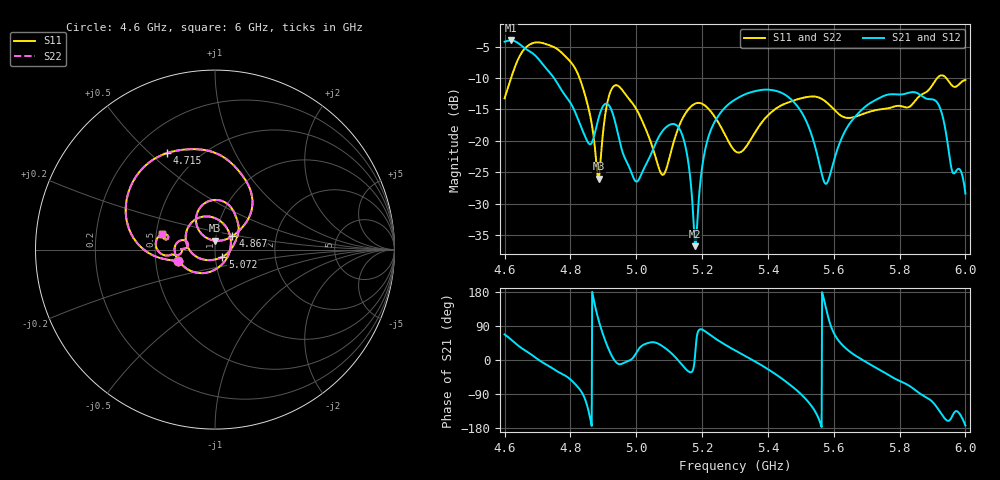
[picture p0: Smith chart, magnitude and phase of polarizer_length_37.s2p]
! TOUCHSTONE file generated by CST MICROWAVE STUDIO
! Date and time: Sun Dec  1 17:16:55 2024
! Project name: test_tuning.cst
! Parameters = {airCoaxOuterDiameter=3; chamferAngle=45; chamferWidth=24; connectorLength=10; drillingHoleDiameter=4.1; feedLength=60; flareDiameter=130; flareLength=70; gratingDistance=0; gratingGap=1.90274; outletLength=30; polarizerLength=136; probe1Diameter=1.3; probe1Distance=14; probe1Length=1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
! Header version: 2024
! Port assignment regex: !\s*Touchstone port\s*([0-9]+)\s*=\s*(CST MWS port|CST DES external port|CST DES block port)\s*(.+)\s* \(\"(.*)\"\)(\s*mode\s*([0-9]+))?.*
! Touchstone port assignment:
! Touchstone port 1 = CST MWS port 1 ("Input1")
! Touchstone port 2 = CST MWS port 2 ("Input2")
# GHz S MA R 50
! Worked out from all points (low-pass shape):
!   1001 points, 4.6 GHz to 6 GHz, reference 50 ohm
!   highest |S21| = -4.02 dB at 4.618 GHz (marker M1); lowest = -36.8 dB at 5.18 GHz (marker M2)
!   |S21| within 3 dB of the highest: start of sweep to 4.704 GHz
!   lowest |S11| = -26.0 dB at 4.886 GHz (marker M3), VSWR 1.10, Z = 49.9 + j4.98 ohm
!   |S11| at or under -10 dB: start of sweep to 4.619705 GHz; 4.828 GHz to 5.915 GHz (1.087 GHz wide, 20.2 % of centre); 5.942 GHz to end of sweep
!   |S22| runs from -26.0 to -4.3 dB; largest |S21 - S12| = 4.3e-07
!   S11 on the Smith chart (normalised r, x): 4.6 GHz: 0.65, -0.09; 4.715 GHz: 0.34, +0.57; 4.867 GHz: 1.20, +0.18; 5.072 GHz: 1.08, -0.09; 6 GHz: 0.54, +0.10
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4.6  0.2178 -163.2  0.6153 67.5  0.6153 67.5  0.2178 -163.2
4.6182  0.3076 -171.1  0.6293 55.1  0.6293 55.1  0.3076 -171.1
4.663  0.5482 155.2  0.5421 24.8  0.5421 24.8  0.5482 155.2
4.7148  0.6005 116.5  0.4098 -6.0  0.4098 -6.0  0.6005 116.5
4.8338  0.2849 45.6  0.1262 -84.4  0.1262 -84.4  0.2849 45.6
4.8674  0.1232 37.8  0.09976 173.7  0.09976 173.7  0.1232 37.8
4.8856  0.04984 88.7  0.1522 105.0  0.1522 105.0  0.04984 88.7
4.9388  0.277 88.6  0.1312 -6.0  0.1312 -6.0  0.277 88.6
5.0004  0.1783 42.4  0.04729 19.3  0.04729 19.3  0.1783 42.4
5.0676  0.06178 -33.6  0.1063 42.7  0.1063 42.7  0.06178 -33.6
5.0718  0.05749 -44.9  0.1113 40.8  0.1113 40.8  0.05749 -44.9
5.139  0.1477 177.6  0.1124 -12.8  0.1124 -12.8  0.1477 177.6
5.1796  0.1979 134.5  0.01447 22.0  0.01447 22.0  0.1979 134.5
5.2188  0.1804 94.0  0.1063 69.7  0.1063 69.7  0.1804 94.0
5.3  0.08297 -4.4  0.2126 25.4  0.2126 25.4  0.08297 -4.4
5.4428  0.1926 -147.6  0.24 -49.3  0.24 -49.3  0.1926 -147.6
5.5338  0.2253 -179.3  0.1091 -122.9  0.1091 -122.9  0.2253 -179.3
5.5772  0.2034 166.1  0.04546 134.4  0.04546 134.4  0.2034 166.1
5.65  0.1523 172.3  0.139 21.2  0.139 21.2  0.1523 172.3
5.7676  0.182 179.2  0.2339 -40.1  0.2339 -40.1  0.182 179.2
5.9132  0.313 -177.6  0.2034 -124.5  0.2034 -124.5  0.313 -177.6
6  0.3049 164.0  0.03791 -172.7  0.03791 -172.7  0.3049 164.0
